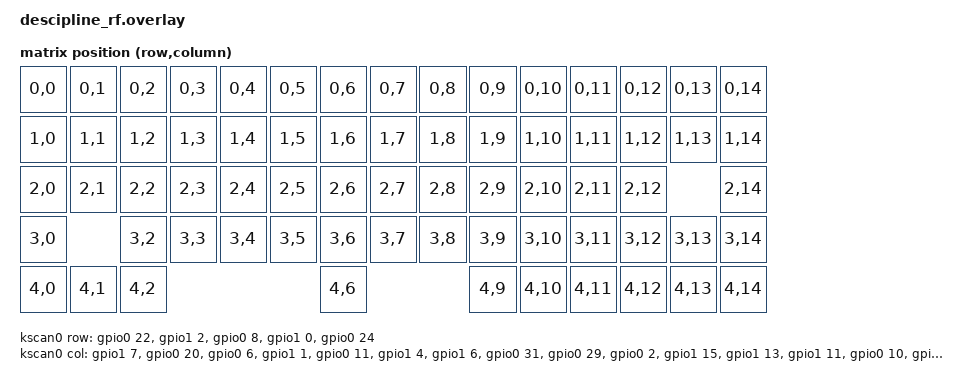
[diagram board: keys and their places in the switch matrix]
#include <dt-bindings/zmk/matrix_transform.h>
#include "descipline_rf-layouts.dtsi"

&physical_layout0 {
    transform = <&matrix_transform>;
};


/ {
    chosen {
        zmk,kscan = &kscan0;
        zmk,physical-layout = &physical_layout0;
    };

    matrix_transform: keymap_transform_0 {
        compatible = "zmk,matrix-transform";
        columns = <15>;
        rows = <5>;
        map = <
            RC(0,0) RC(0,1) RC(0,2) RC(0,3) RC(0,4) RC(0,5) RC(0,6) RC(0,7) RC(0,8) RC(0,9) RC(0,10) RC(0,11) RC(0,12) RC(0,13) RC(0,14)
            RC(1,0) RC(1,1) RC(1,2) RC(1,3) RC(1,4) RC(1,5) RC(1,6) RC(1,7) RC(1,8) RC(1,9) RC(1,10) RC(1,11) RC(1,12) RC(1,13) RC(1,14)
            RC(2,0) RC(2,1) RC(2,2) RC(2,3) RC(2,4) RC(2,5) RC(2,6) RC(2,7) RC(2,8) RC(2,9) RC(2,10) RC(2,11) RC(2,12)          RC(2,14)
            RC(3,0)         RC(3,2) RC(3,3) RC(3,4) RC(3,5) RC(3,6) RC(3,7) RC(3,8) RC(3,9) RC(3,10) RC(3,11) RC(3,12) RC(3,13) RC(3,14)
            RC(4,0) RC(4,1) RC(4,2)                         RC(4,6)                 RC(4,9) RC(4,10) RC(4,11) RC(4,12) RC(4,13) RC(4,14)
        >;
    };
RC(4,3)
    kscan0: kscan {
        compatible = "zmk,kscan-gpio-matrix";
        label = "KSCAN";
        diode-direction = "col2row";

        row-gpios
            = <&gpio0 22 (GPIO_ACTIVE_HIGH | GPIO_PULL_DOWN)>  // D4 (P0.22) / row0
            , <&gpio1 2 (GPIO_ACTIVE_HIGH | GPIO_PULL_DOWN)>   // D12 (P1.02) / row1
            , <&gpio0 8 (GPIO_ACTIVE_HIGH | GPIO_PULL_DOWN)>   // D0 (P0.08) / row2
            , <&gpio1 0 (GPIO_ACTIVE_HIGH | GPIO_PULL_DOWN)>   // D6 (P1.00) / row3
            , <&gpio0 24 (GPIO_ACTIVE_HIGH | GPIO_PULL_DOWN)>  // D5 (P0.24) / row4
            ;

        col-gpios
            = <&gpio1 7 GPIO_ACTIVE_HIGH>   // D13 (P1.07) / col0
            , <&gpio0 20 GPIO_ACTIVE_HIGH>  // D3 (P0.20) / col1
            , <&gpio0 6 GPIO_ACTIVE_HIGH>   // D1 (P0.06) / Col2
            , <&gpio1 1 GPIO_ACTIVE_HIGH>   // D11 (P1.01) / col3
            , <&gpio0 11 GPIO_ACTIVE_HIGH>  // D7 (P0.11) / col4
            , <&gpio1 4 GPIO_ACTIVE_HIGH>   // D8 (P1.04) / col5
            , <&gpio1 6 GPIO_ACTIVE_HIGH>   // D9 (P1.06) / col6
            , <&gpio0 31 GPIO_ACTIVE_HIGH>  // D21 (P0.31) / col7
            , <&gpio0 29 GPIO_ACTIVE_HIGH>  // D20 (P0.29) / col8
            , <&gpio0 2 GPIO_ACTIVE_HIGH>   // D19 (P0.02) / col9
            , <&gpio1 15 GPIO_ACTIVE_HIGH>  // D18 (P1.15) / col10
            , <&gpio1 13 GPIO_ACTIVE_HIGH>  // D15 (P1.13) / col11
            , <&gpio1 11 GPIO_ACTIVE_HIGH>  // D14 (P1.11) / col12
            , <&gpio0 10 GPIO_ACTIVE_HIGH>  // D16 (P0.10) / col13
            , <&gpio0 9 GPIO_ACTIVE_HIGH>   // D10 (P0.09) / col14
            ;
    };
};
